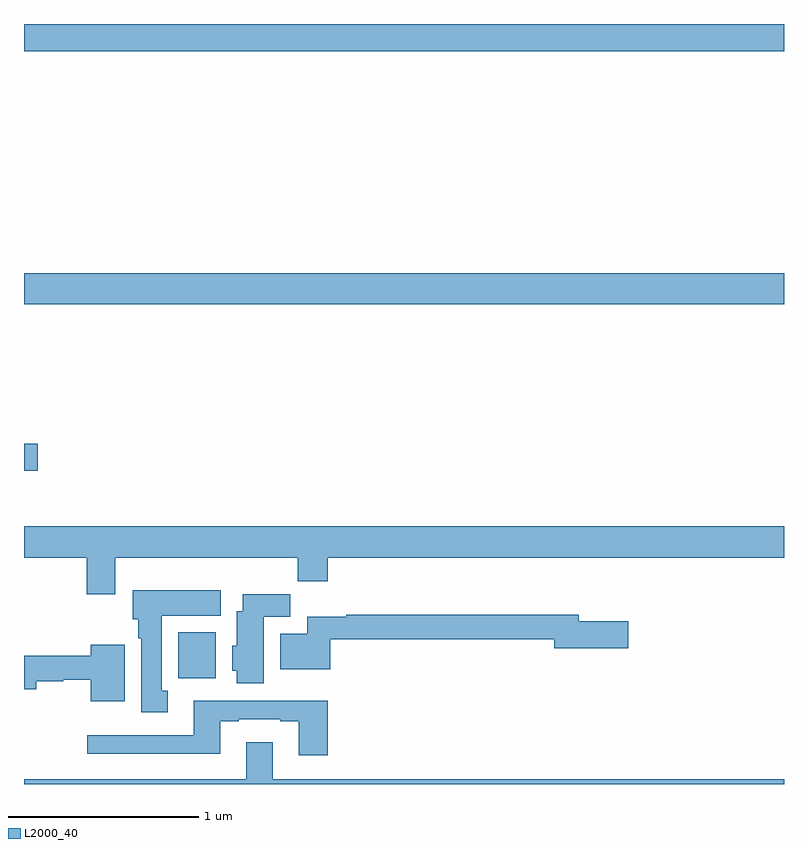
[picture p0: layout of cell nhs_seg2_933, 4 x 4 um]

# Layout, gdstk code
import gdstk
lib = gdstk.Library(unit=1e-6, precision=1e-09)
def R(c, l, rs):  # rectangles x0, y0, x1, y1
    for r in rs: c.add(gdstk.rectangle(r[:2], r[2:], *l))
def P(c, l, *ps):  # polygons
    for p in ps: c.add(gdstk.Polygon(p, *l))
L2000_40 = (2000, 40)

nhs_seg2_933 = lib.new_cell('nhs_seg2_933')
R(nhs_seg2_933, L2000_40, [(159.812,624.356,160.009,624.598), (159,625.45,159.073,625.592), (159,626.324,163,626.488), (159,627.656,163,627.8)])
P(nhs_seg2_933, L2000_40, [(159.481,624.992),(160.441,624.992),(160.441,624.868),(160.598,624.868),(160.598,624.992),(163,624.992),(163,625.156),(159,625.156),(159,624.992),(159.329,624.992),(159.329,624.798),(159.481,624.798)],
  [(159.757,624.29),(159.724,624.29),(159.724,624.686),(160.036,624.686),(160.036,624.82),(159.572,624.82),(159.572,624.666),(159.602,624.666),(159.602,624.566),(159.617,624.566),(159.617,624.177),(159.757,624.177)],
  [(160.261,624.68),(160.4,624.68),(160.4,624.799),(160.151,624.799),(160.151,624.709),(160.121,624.709),(160.121,624.528),(160.097,624.528),(160.097,624.396),(160.121,624.396),(160.121,624.329),(160.261,624.329)],
  [(160.613,624.562),(161.792,624.562),(161.792,624.515),(162.181,624.515),(162.181,624.657),(161.92,624.657),(161.92,624.691),(160.696,624.691),(160.696,624.68),(160.49,624.68),(160.49,624.592),(160.349,624.592),(160.349,624.404),(160.613,624.404)],
  [(159.529,624.532),(159.35,624.532),(159.35,624.476),(159,624.476),(159,624.298),(159.064,624.298),(159.064,624.34),(159.207,624.34),(159.207,624.348),(159.35,624.348),(159.35,624.236),(159.529,624.236)],
  [(160.598,624.238),(160.353,624.238),(160.353,624.237),(159.893,624.237),(159.893,624.057),(159.333,624.057),(159.333,623.96),(160.033,623.96),(160.033,624.129),(160.129,624.129),(160.129,624.141),(160.349,624.141),(160.349,624.129),(160.445,624.129),(160.445,623.952),(160.598,623.952)],
  [(163,623.824),(160.309,623.824),(160.309,624.019),(160.169,624.019),(160.169,623.824),(159,623.824),(159,623.8),(163,623.8)])

lib.write_gds('nhs_seg2_933.gds')
